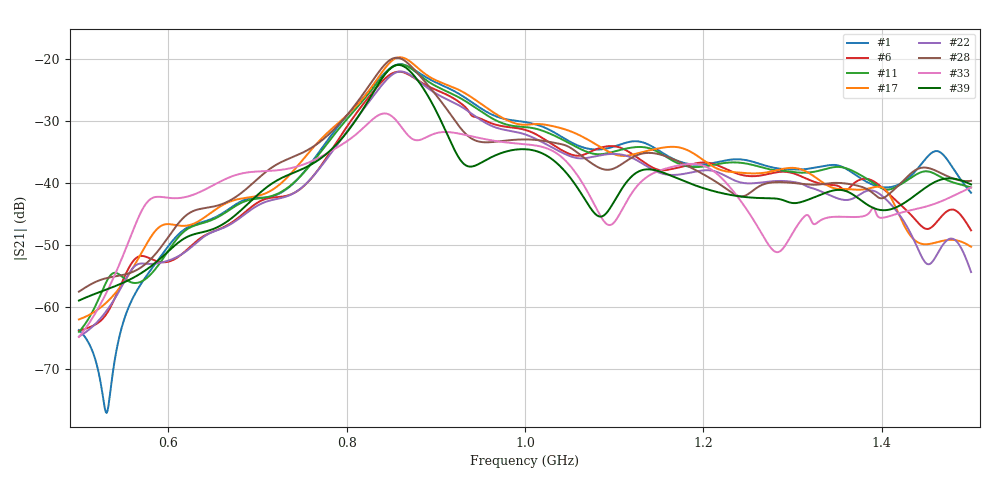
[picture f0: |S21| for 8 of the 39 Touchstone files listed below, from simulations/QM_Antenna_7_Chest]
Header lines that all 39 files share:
! TOUCHSTONE file generated by CST MICROWAVE STUDIO
! Header version: 2018
! Port assignment regex: !\s*Touchstone port\s*([0-9]+)\s*=\s*(CST MWS port|CST DS port)\s*([0-9]+|Zmin|Zmax)\s*\(\"(.*)\"\)(\s*mode\s*([0-9]+))?.*
! Touchstone port assignment:
! Touchstone port 1 = CST MWS port 1 ("")
! Touchstone port 2 = CST MWS port 2 ("")
# GHz S DB R 50
Fixed: L_HA = 400, Ltissue = 700, MT = 2.54, Rad_Dielectric = 30, Rad_Lower = 7.3, Rad_Upper = 30, Wtissue = 700, a_HA = 580, a_WG = 246, b_HA = 500, b_WG = 121, c_HA = 0, c_WG = 187, d_feed = 85, h_feed = 15, h_lower = 18, h_upper = 40, hfat = 3, hgap = 25, hmuscle = 50, hskin = 1.5
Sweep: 500 MHz to 1.5 GHz
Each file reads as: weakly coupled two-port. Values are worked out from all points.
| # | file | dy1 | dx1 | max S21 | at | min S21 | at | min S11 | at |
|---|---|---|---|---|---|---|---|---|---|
| 1 | 26_5.s2p | 86.5 | 866 | -20.82 dB | 860 MHz | -77.0 dB | 531 MHz | -40.9 dB | 1.257 GHz |
| 2 | 26_6.s2p | 86.5 | 1039 | -22.05 dB | 859 MHz | -63.6 dB | 500 MHz | -29.6 dB | 788 MHz |
| 3 | 27_1.s2p | -103.8 | 173 | -14.04 dB | 863 MHz | -64.8 dB | 562 MHz | -20.2 dB | 1.377 GHz |
| 4 | 27_2.s2p | 103.8 | 346 | -17.81 dB | 863 MHz | -57.0 dB | 522 MHz | -21.1 dB | 1.301 GHz |
| 5 | 27_4.s2p | -103.8 | 693 | -19.36 dB | 861 MHz | -61.3 dB | 500 MHz | -26.6 dB | 1.301 GHz |
| 6 | 27_6.s2p | 103.8 | 1039 | -22.01 dB | 859 MHz | -63.8 dB | 500 MHz | -31.9 dB | 788 MHz |
| 7 | 28_2.s2p | 121.1 | 346 | -18.27 dB | 861 MHz | -61.7 dB | 531 MHz | -20.2 dB | 1.302 GHz |
| 8 | 28_4.s2p | -121.1 | 693 | -19.44 dB | 861 MHz | -61.4 dB | 500 MHz | -26.2 dB | 1.301 GHz |
| 9 | 29_2.s2p | 138.4 | 346 | -18.65 dB | 860 MHz | -56.1 dB | 500 MHz | -20.0 dB | 1.302 GHz |
| 10 | 29_4.s2p | -138.4 | 693 | -19.48 dB | 861 MHz | -61.6 dB | 500 MHz | -25.1 dB | 1.302 GHz |
| 11 | 29_5.s2p | 138.4 | 866 | -20.85 dB | 860 MHz | -64.0 dB | 500 MHz | -42.6 dB | 697 MHz |
| 12 | 29_6.s2p | 138.4 | 1039 | -21.96 dB | 860 MHz | -74.8 dB | 527 MHz | -38.7 dB | 789 MHz |
| 13 | 30_2.s2p | 155.7 | 346 | -18.95 dB | 858 MHz | -56.3 dB | 503 MHz | -19.2 dB | 1.302 GHz |
| 14 | 30_3.s2p | 155.7 | 520 | -19.04 dB | 858 MHz | -62.4 dB | 500 MHz | -19.5 dB | 1.363 GHz |
| 15 | 31_1.s2p | -173 | 173 | -19.51 dB | 872 MHz | -59.8 dB | 500 MHz | -20.9 dB | 1.382 GHz |
| 16 | 31_2.s2p | 173 | 346 | -19.19 dB | 856 MHz | -56.5 dB | 500 MHz | -19.1 dB | 1.3 GHz |
| 17 | 31_4.s2p | -173 | 693 | -19.69 dB | 860 MHz | -62.0 dB | 500 MHz | -25.1 dB | 1.304 GHz |
| 18 | 31_5.s2p | 173 | 866 | -20.99 dB | 860 MHz | -64.2 dB | 500 MHz | -49.2 dB | 697 MHz |
| 19 | 32_1.s2p | -190.3 | 173 | -21.64 dB | 876 MHz | -60.4 dB | 500 MHz | -21.9 dB | 1.383 GHz |
| 20 | 32_2.s2p | 190.3 | 346 | -19.33 dB | 856 MHz | -57.2 dB | 519 MHz | -18.8 dB | 1.302 GHz |
| 21 | 32_3.s2p | 190.3 | 520 | -19.35 dB | 857 MHz | -62.9 dB | 500 MHz | -21.1 dB | 1.362 GHz |
| 22 | 32_6.s2p | 190.3 | 1039 | -21.99 dB | 861 MHz | -64.7 dB | 500 MHz | -44.3 dB | 1.217 GHz |
| 23 | 33_1.s2p | -207.6 | 173 | -23.80 dB | 883 MHz | -61.2 dB | 500 MHz | -22.7 dB | 1.383 GHz |
| 24 | 33_2.s2p | 207.6 | 346 | -19.45 dB | 857 MHz | -58.0 dB | 525 MHz | -19.0 dB | 1.302 GHz |
| 25 | 34_1.s2p | -224.9 | 173 | -25.97 dB | 893 MHz | -62.0 dB | 500 MHz | -22.7 dB | 1.383 GHz |
| 26 | 34_2.s2p | 224.9 | 346 | -19.63 dB | 856 MHz | -57.2 dB | 500 MHz | -19.5 dB | 1.301 GHz |
| 27 | 35_1.s2p | -242.2 | 173 | -28.00 dB | 906 MHz | -62.9 dB | 500 MHz | -22.4 dB | 1.382 GHz |
| 28 | 35_2.s2p | 242.2 | 346 | -19.76 dB | 856 MHz | -57.5 dB | 500 MHz | -20.3 dB | 1.3 GHz |
| 29 | 35_3.s2p | 242.2 | 520 | -19.87 dB | 859 MHz | -63.8 dB | 500 MHz | -19.5 dB | 1.242 GHz |
| 30 | 35_5.s2p | 242.2 | 866 | -21.69 dB | 860 MHz | -64.7 dB | 500 MHz | -38.7 dB | 1.259 GHz |
| 31 | 36_2.s2p | 259.5 | 346 | -19.99 dB | 857 MHz | -57.8 dB | 500 MHz | -21.4 dB | 1.299 GHz |
| 32 | 36_6.s2p | 259.5 | 1039 | -22.37 dB | 861 MHz | -65.8 dB | 520 MHz | -39.3 dB | 710 MHz |
| 33 | 37_1.s2p | -276.8 | 173 | -28.75 dB | 843 MHz | -64.8 dB | 500 MHz | -19.5 dB | 1.379 GHz |
| 34 | 37_2.s2p | 276.8 | 346 | -20.27 dB | 858 MHz | -60.9 dB | 531 MHz | -23.4 dB | 1.298 GHz |
| 35 | 37_3.s2p | 276.8 | 520 | -20.31 dB | 859 MHz | -64.5 dB | 500 MHz | -20.9 dB | 1.241 GHz |
| 36 | 37_4.s2p | -276.8 | 693 | -20.79 dB | 861 MHz | -63.0 dB | 500 MHz | -37.2 dB | 765 MHz |
| 37 | 37_6.s2p | 276.8 | 1039 | -22.55 dB | 861 MHz | -65.6 dB | 500 MHz | -36.8 dB | 1.218 GHz |
| 38 | 38_2.s2p | 294.1 | 346 | -20.62 dB | 858 MHz | -58.5 dB | 500 MHz | -26.2 dB | 1.297 GHz |
| 39 | 39_2.s2p | 311.4 | 346 | -20.92 dB | 858 MHz | -58.9 dB | 500 MHz | -32.2 dB | 1.295 GHz |
